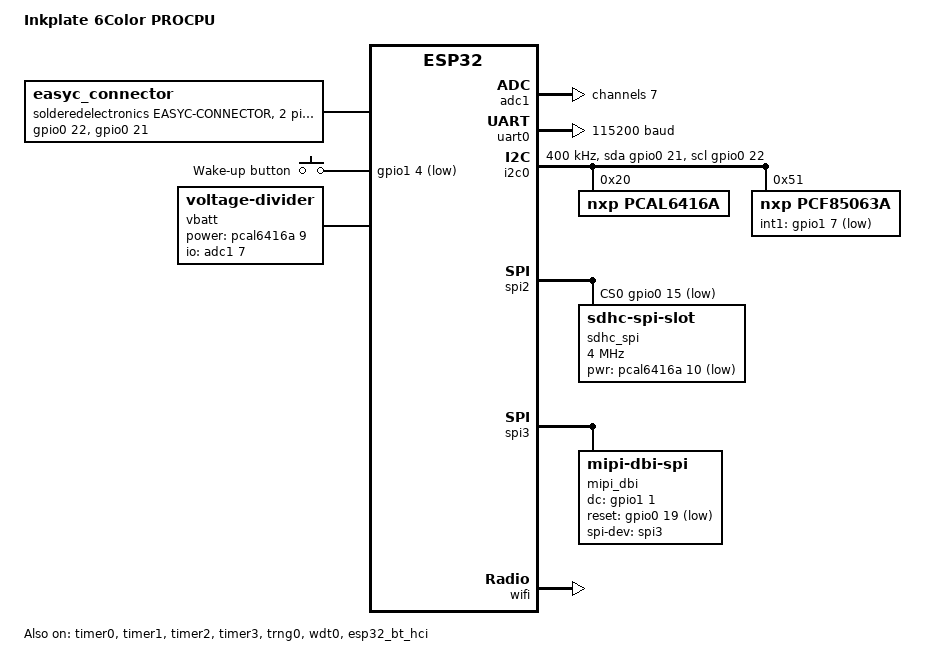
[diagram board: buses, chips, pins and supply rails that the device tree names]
/*
 * Copyright (c) 2026 Fabian Blatz <fabianblatz@gmail.com>
 *
 * SPDX-License-Identifier: Apache-2.0
 */
/dts-v1/;

#include <espressif/esp32/esp32_wrover_e_n4r8.dtsi>
#include "inkplate_6color-pinctrl.dtsi"
#include <espressif/partitions_0x1000_amp.dtsi>
#include <zephyr/dt-bindings/input/input-event-codes.h>

/ {
	model = "Inkplate 6Color PROCPU";
	compatible = "solderedelectronics,inkplate-6color";

	chosen {
		zephyr,sram = &sram1;
		zephyr,console = &uart0;
		zephyr,shell-uart = &uart0;
		zephyr,flash = &flash0;
		zephyr,code-partition = &slot0_partition;
		zephyr,bt-hci = &esp32_bt_hci;
		zephyr,display = &ac057tc1;
	};

	aliases {
		watchdog0 = &wdt0;
		i2c-0 = &i2c0;
		sw0 = &wakeup_button;
		rtc = &pcf85063a;
		display0 = &ac057tc1;
	};

	easyc_connector: easyc-connector {
		compatible = "solderedelectronics,easyc-connector";
		#gpio-cells = <2>;
		gpio-map-mask = <0xffffffff 0xffffffc0>;
		gpio-map-pass-thru = <0 0x3f>;
		gpio-map = <0 0 &gpio0 22 0>,	/* SCL */
			   <1 0 &gpio0 21 0>;	/* SDA */
	};

	gpio_keys {
		compatible = "gpio-keys";

		wakeup_button: button_1 {
			label = "Wake-up button";
			gpios = <&gpio1 4 GPIO_ACTIVE_LOW>;
			zephyr,code = <INPUT_KEY_WAKEUP>;
		};
	};

	vbatt: vbatt0 {
		status = "okay";
		compatible = "voltage-divider";
		io-channels = <&adc1 7>;
		output-ohms = <100000>;
		full-ohms = <(100000 + 100000)>;
		power-gpios = <&pcal6416a 9 GPIO_ACTIVE_HIGH>;
		skip-calibration;
	};
};

&adc1 {
	status = "okay";

	#address-cells = <1>;
	#size-cells = <0>;

	channel@7 {
		reg = <7>;
		zephyr,gain = "ADC_GAIN_1_2";
		zephyr,reference = "ADC_REF_INTERNAL";
		zephyr,vref-mv = <1100>;
		zephyr,acquisition-time = <ADC_ACQ_TIME_DEFAULT>;
		zephyr,resolution = <12>;
		zephyr,oversampling = <4>;
	};
};

&uart0 {
	status = "okay";
	current-speed = <115200>;
	pinctrl-0 = <&uart0_default>;
	pinctrl-names = "default";
};

&i2c0 {
	status = "okay";
	clock-frequency = <I2C_BITRATE_FAST>;
	pinctrl-0 = <&i2c0_default>;
	pinctrl-names = "default";
	sda-gpios = <&gpio0 21 GPIO_OPEN_DRAIN>;
	scl-gpios = <&gpio0 22 GPIO_OPEN_DRAIN>;

	pcal6416a: pcal6416a@20 {
		compatible = "nxp,pcal6416a";
		reg = <0x20>;
		gpio-controller;
		#gpio-cells = <2>;
		ngpios = <16>;

		vbatt-measure-off {
			gpio-hog;
			gpios = <9 GPIO_ACTIVE_HIGH>;
			output-low;
		};

		sdcard-power-off {
			gpio-hog;
			gpios = <10 GPIO_ACTIVE_LOW>;
			output-low;
		};
	};

	pcf85063a: pcf85063a@51 {
		compatible = "nxp,pcf85063a";
		reg = <0x51>;
		int1-gpios = <&gpio1 7 (GPIO_PULL_UP | GPIO_ACTIVE_LOW)>;
	};
};

&i2c1 {
	status = "disabled";
	clock-frequency = <I2C_BITRATE_FAST>;
	pinctrl-0 = <&i2c1_default>;
	pinctrl-names = "default";
	sda-gpios = <&gpio0 26 GPIO_OPEN_DRAIN>;
	scl-gpios = <&gpio0 25 GPIO_OPEN_DRAIN>;
};

&timer0 {
	status = "okay";
};

&timer1 {
	status = "okay";
};

&timer2 {
	status = "okay";
};

&timer3 {
	status = "okay";
};

&trng0 {
	status = "okay";
};

&spi2 {
	#address-cells = <1>;
	#size-cells = <0>;
	pinctrl-0 = <&spim2_default>;
	pinctrl-names = "default";
	status = "okay";
	cs-gpios = <&gpio0 15 GPIO_ACTIVE_LOW>;

	sdhc_spi: sdhc@0 {
		compatible = "zephyr,sdhc-spi-slot";
		reg = <0>;
		status = "okay";
		spi-max-frequency = <4000000>;
		pwr-gpios = <&pcal6416a 10 GPIO_ACTIVE_LOW>;
		power-delay-ms = <50>;

		mmc {
			compatible = "zephyr,sdmmc-disk";
			disk-name = "SD";
			status = "okay";
		};
	};
};

&spi3 {
	#address-cells = <1>;
	#size-cells = <0>;
	pinctrl-0 = <&spim3_default>;
	pinctrl-names = "default";
	status = "okay";
	cs-gpios = <&gpio0 27 GPIO_ACTIVE_LOW>;  /* EPAPER_CS_PIN */

	mipi_dbi: mipi_dbi {
		compatible = "zephyr,mipi-dbi-spi";
		#address-cells = <1>;
		#size-cells = <0>;
		spi-dev = <&spi3>;
		dc-gpios = <&gpio1 1 GPIO_ACTIVE_HIGH>;  /* GPIO33 */
		reset-gpios = <&gpio0 19 GPIO_ACTIVE_LOW>;
		write-only;

		ac057tc1: ac057tc1@0 {
			compatible = "eink,ac057tc1";
			reg = <0>;
			mipi-max-frequency = <2000000>;
			width = <600>;
			height = <448>;
			busy-gpios = <&gpio1 0 GPIO_ACTIVE_HIGH>;  /* GPIO32 */
		};
	};
};

&gpio0 {
	status = "okay";
};

&gpio1 {
	status = "okay";
};

&wdt0 {
	status = "okay";
};

&esp32_bt_hci {
	status = "okay";
};

&wifi {
	status = "okay";
};
